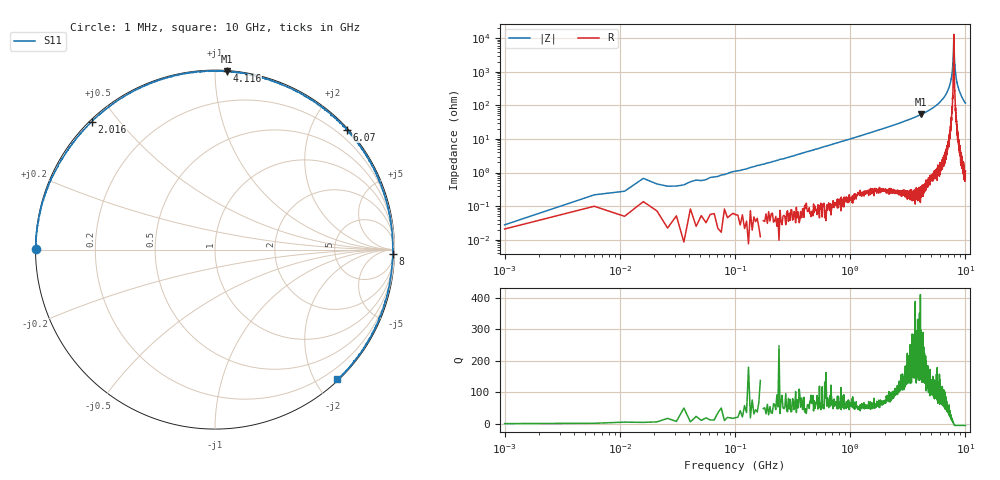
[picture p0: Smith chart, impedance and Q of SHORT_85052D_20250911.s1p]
!Keysight Technologies,M9375A,MY54321142,A.14.10.03
!Date: Thursday, September 11, 2025 11:37:18
!Correction: S11(C  2-Port  )
!S1P File: Measurement: :
# Hz S  dB  R 50
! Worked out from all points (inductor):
!   2001 points, 1 MHz to 10 GHz, reference 50 ohm
!   read as one part to ground: L = 1.77 nH near 50.99 MHz
!   highest Q = 251 at 4.116 GHz (marker M1), where L = 2.07 nH
!   self-resonance near 7.94 GHz
!   S11 on the Smith chart (normalised r, x): 1 MHz: 0.00, +0.00; 2.016 GHz: 0.01, +0.42; 4.116 GHz: 0.00, +1.07; 6.07 GHz: 0.03, +2.58; 8 GHz: 29, -68; 10 GHz: 0.02, -2.32
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1000000  -0.01 180.0
3.159685e8  -0.01 173.0
6.50935e8  -0.04 165.3
1.0059e9  -0.06 157.1
1.250875e9  -0.08 151.6
1.570843e9  -0.10 144.2
2.015798e9  -0.09 134.0
2.50075e9  -0.08 122.8
2.80572e9  -0.06 115.8
3.150685e9  -0.05 107.8
3.460654e9  -0.04 100.9
3.750625e9  -0.05 94.4
4.115588e9  -0.03 86.2
4.545546e9  -0.07 76.7
5.0005e9  -0.06 66.5
5.525448e9  -0.07 54.7
6.070393e9  -0.06 42.4
6.250375e9  -0.06 38.3
6.555344e9  -0.07 31.4
6.880312e9  -0.07 24.1
7.20528e9  -0.07 16.7
7.50025e9  -0.07 9.9
8.0002e9  -0.09 -1.4
8.410159e9  -0.09 -10.9
8.750125e9  -0.07 -18.6
9.280072e9  -0.07 -30.5
9.725028e9  -0.05 -40.7
1e10  -0.06 -46.6
